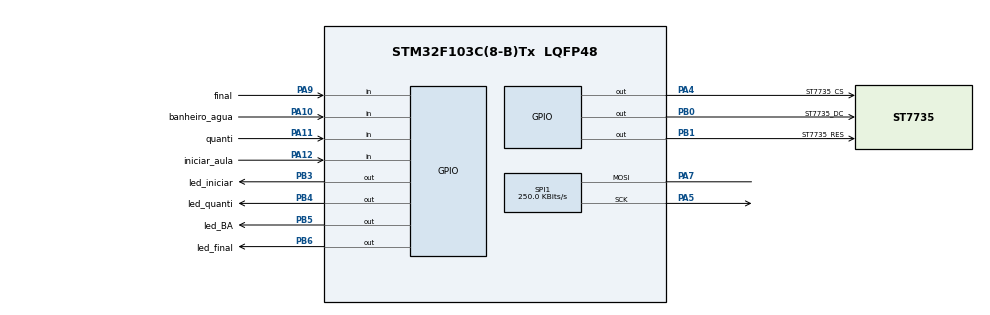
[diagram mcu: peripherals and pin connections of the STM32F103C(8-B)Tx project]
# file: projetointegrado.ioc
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Mcu.Family=STM32F1
Mcu.Name=STM32F103C(8-B)Tx
Mcu.Package=LQFP48
NVIC.PriorityGroup=NVIC_PRIORITYGROUP_4
PA10.GPIO_Label=banheiro_agua
PA10.GPIO_PuPd=GPIO_PULLUP
PA10.Signal=GPIO_Input
PA11.GPIO_Label=quanti
PA11.GPIO_PuPd=GPIO_PULLUP
PA11.Signal=GPIO_Input
PA12.GPIO_Label=iniciar_aula
PA12.GPIO_PuPd=GPIO_PULLUP
PA12.Signal=GPIO_Input
PA13.Mode=Serial_Wire
PA13.Signal=SYS_JTMS-SWDIO
PA14.Mode=Serial_Wire
PA14.Signal=SYS_JTCK-SWCLK
PA4.GPIO_Label=ST7735_CS
PA4.Signal=GPIO_Output
PA5.Mode=Simplex_Bidirectional_Master
PA5.Signal=SPI1_SCK
PA7.Mode=Simplex_Bidirectional_Master
PA7.Signal=SPI1_MOSI
PA9.GPIO_Label=final
PA9.GPIO_PuPd=GPIO_PULLUP
PA9.Signal=GPIO_Input
PB0.GPIO_Label=ST7735_DC
PB0.Signal=GPIO_Output
PB1.GPIO_Label=ST7735_RES
PB1.Signal=GPIO_Output
PB3.GPIO_Label=led_iniciar
PB3.Signal=GPIO_Output
PB4.GPIO_Label=led_quanti
PB4.Signal=GPIO_Output
PB5.GPIO_Label=led_BA
PB5.Signal=GPIO_Output
PB6.GPIO_Label=led_final
PB6.Signal=GPIO_Output
ProjectManager.HeapSize=0x200
ProjectManager.StackSize=0x400
ProjectManager.TargetToolchain=STM32CubeIDE
RCC.APB1Freq_Value=8000000
RCC.APB2Freq_Value=8000000
SPI1.BaudRatePrescaler=SPI_BAUDRATEPRESCALER_32
SPI1.CalculateBaudRate=250.0 KBits/s
SPI1.Direction=SPI_DIRECTION_1LINE
SPI1.Mode=SPI_MODE_MASTER
SPI1.VirtualType=VM_MASTER
board=custom

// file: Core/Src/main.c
/* USER CODE BEGIN Header */
/**
  ******************************************************************************
  * @file           : main.c
  * @brief          : Main program body
  ******************************************************************************
  * @attention
  *
  * <h2><center>&copy; Copyright (c) 2026 STMicroelectronics.
  * All rights reserved.</center></h2>
  *
  * This software component is licensed by ST under BSD 3-Clause license,
  * the "License"; You may not use this file except in compliance with the
  * License. You may obtain a copy of the License at:
  *                        opensource.org/licenses/BSD-3-Clause
  *
  ******************************************************************************
  */
/* USER CODE END Header */
#include "main.h"

/* USER CODE BEGIN Includes */
#include "st7735\st7735.h"
#include <stdio.h>
#include <stdlib.h>
/* USER CODE END Includes */

/* USER CODE BEGIN PD */
#define RED   0xF800
#define GREEN 0x07E0
#define BLUE  0x001F
//definições dos botoes:PA9,PA10,PA11 e PA12
#define iniciaraula HAL_GPIO_ReadPin(iniciar_aula_GPIO_Port, iniciar_aula_Pin)
#define quanti HAL_GPIO_ReadPin(quanti_GPIO_Port, quanti_Pin)
#define BA HAL_GPIO_ReadPin(banheiro_agua_GPIO_Port, banheiro_agua_Pin)
#define final HAL_GPIO_ReadPin(final_GPIO_Port, final_Pin)
//definições dos leds:PB3,PB4,PB5 e PB6
#define lediniciar(state) HAL_GPIO_WritePin(led_iniciar_GPIO_Port, led_iniciar_Pin, state)
#define ledquantid(state) HAL_GPIO_WritePin(led_quanti_GPIO_Port,  led_quanti_Pin,  state)
#define ledBA(state)      HAL_GPIO_WritePin(led_BA_GPIO_Port,      led_BA_Pin,      state)
#define ledfinal(state)   HAL_GPIO_WritePin(led_final_GPIO_Port,   led_final_Pin,   state)
#define maxTentativas 3
#define bloqueabase 5000
#define maxalunos 40
/* USER CODE END PD */

SPI_HandleTypeDef hspi1;

/* USER CODE BEGIN PV */
uint8_t saida_BA = 0;
uint8_t nao_retornarem = 0;
uint32_t tick_inicio = 0;
uint8_t  digito_atual = 0;
uint8_t  senha[4];
uint8_t  indice       = 0;
uint8_t  senha_correta[4];
uint8_t  qtd_alunos1  = 15;
uint8_t  qtd_alunos2  = 20;
uint8_t  qtdmaxalunos  = 40;
char     buffer_tela[20];
uint32_t timeout      = 500;
uint8_t tentativas = 0;
/* USER CODE END PV */

void SystemClock_Config(void);
static void MX_GPIO_Init(void);
static void MX_SPI1_Init(void);
/* USER CODE BEGIN PFP */
void tela_login(void);
void gerar_senha(void);
void atualiza_senha_display(void);
bool verifica_senha(void);
void inserir_digito(uint8_t d);
void turma(void);
void total_alunos(void);
void encerrar_aula(uint8_t alunos_sala, uint8_t alunos_fora, uint8_t total_saidas);
/* USER CODE END PFP */

/* USER CODE BEGIN 0 */
uint32_t last_time = 0;

void tela_login(void)
{
    ST7735_FillScreen(0x0000);
    ST7735_WriteString(10, 20, "Digite a senha:", Font_7x10,  GREEN, 0x0000);
    ST7735_WriteString(20, 50, "_ _ _ _",         Font_11x18, BLUE,  0x0000);
}

void gerar_senha(void)
{

    ST7735_FillScreen(0x0000);
    ST7735_WriteString(10, 10, "Senha Gerada:", Font_7x10, GREEN, 0x0000);

    char temp[2];
    for (int i = 0; i < 4; i++) {
        senha_correta[i] = rand() % 10;
        sprintf(temp, "%d", senha_correta[i]);
        ST7735_WriteString(10 + (i * 15), 30, temp, Font_11x18, WHITE, 0x0000);
    }

    ST7735_WriteString(10, 60, "Decore a senha!", Font_7x10, RED, 0x0000);
    HAL_Delay(3000);
}
void total_alunos(void)
{
    #define maxFora 3

    uint8_t alunos_sala  = 0;
    uint8_t alunos_fora  = 0;
    uint8_t total_saidas = 0;
    char linha1[20], linha2[20];

    tick_inicio = HAL_GetTick();

    ST7735_FillScreen(0x0000);
    ST7735_WriteString(10,  5, "AULA",           Font_7x10, GREEN, 0x0000);
    ST7735_WriteString(10, 20, "Sala:  0",       Font_7x10, WHITE, 0x0000);
    ST7735_WriteString(10, 35, "Fora:  0",       Font_7x10, WHITE, 0x0000);
    ST7735_WriteString(10, 80, "iniciar: +aluno",Font_7x10, BLUE,  0x0000);
    ST7735_WriteString(10, 95, "BA    : sair",   Font_7x10, BLUE,  0x0000);
    ST7735_WriteString(10,110, "final : voltar", Font_7x10, BLUE,  0x0000);
    ST7735_WriteString(10,125, "ini+fin:  fim",  Font_7x10, BLUE,  0x0000);

    while (1)
    {
        /* --- detecção do combo de encerramento --- */
        if (iniciaraula == GPIO_PIN_RESET && final == GPIO_PIN_RESET)
        {
            HAL_Delay(50);
            if (iniciaraula == GPIO_PIN_RESET && final == GPIO_PIN_RESET)
            {
                encerrar_aula(alunos_sala, alunos_fora, total_saidas);
                return;
            }
        }

        /* --- entrada de aluno --- */
        if (iniciaraula == GPIO_PIN_RESET)
        {
            alunos_sala++;
            HAL_Delay(300);
            sprintf(linha1, "Sala: %2d  ", alunos_sala);
            ST7735_WriteString(10, 20, linha1, Font_7x10, WHITE, 0x0000);
        }

        /* --- saída para BA --- */
        if (BA == GPIO_PIN_RESET)
        {
            if (final != GPIO_PIN_RESET)
            {
                if (alunos_fora < maxFora && alunos_sala > 0)
                {
                    alunos_fora++;
                    alunos_sala--;
                    total_saidas++;
                    HAL_Delay(300);
                    sprintf(linha1, "Sala: %2d  ", alunos_sala);
                    sprintf(linha2, "Fora: %2d  ", alunos_fora);
                    ST7735_WriteString(10, 20, linha1, Font_7x10, WHITE, 0x0000);
                    ST7735_WriteString(10, 35, linha2, Font_7x10, BLUE,  0x0000);
                }
                else if (alunos_fora >= maxFora)
                {
                    ST7735_WriteString(10, 55, "Limite atingido!", Font_7x10, RED, 0x0000);
                    HAL_Delay(1500);
                    ST7735_WriteString(10, 55, "                ", Font_7x10, 0x0000, 0x0000);
                }
            }
        }

        /* --- retorno do BA --- */
        if (final == GPIO_PIN_RESET)
        {
            if (iniciaraula != GPIO_PIN_RESET)
            {
                if (alunos_fora > 0)
                {
                    alunos_fora--;
                    alunos_sala++;
                    HAL_Delay(300);
                    sprintf(linha1, "Sala: %2d  ", alunos_sala);
                    sprintf(linha2, "Fora: %2d  ", alunos_fora);
                    ST7735_WriteString(10, 20, linha1, Font_7x10, WHITE, 0x0000);
                    ST7735_WriteString(10, 35, linha2, Font_7x10, BLUE,  0x0000);
                }
            }
        }
    }
}

void atualiza_senha_display(void)
{
    char display[9] = "_ _ _ _";

    for (int i = 0; i < indice; i++) {
        display[i * 2] = '0' + senha[i];
    }

    if (indice < 4) {
        display[indice * 2] = '0' + digito_atual;
    }

    ST7735_WriteString(20, 50, display, Font_11x18, RED, 0x0000);
}

bool verifica_senha(void)
{
    if (indice < 4) return false;

    int ok = 1;
    for (int i = 0; i < 4; i++) {
        if (senha[i] != senha_correta[i]) {
            ok = 0;
            break;
        }
    }

    if (ok) {
        ST7735_FillScreen(GREEN);
        ST7735_WriteString(20, 60, "ACESSO OK", Font_11x18, 0x0000, GREEN);
        HAL_Delay(2000);
        return true;
    } else {
        ST7735_FillScreen(RED);
        ST7735_WriteString(40, 60, "ERRO", Font_11x18, 0x0000, RED);
        HAL_Delay(2000);
        indice       = 0;
        digito_atual = 0;
        tela_login();
        return false;
    }
}

/* USER CODE END 0 */

int main(void)
{

  HAL_Init();
  SystemClock_Config();
  MX_GPIO_Init();
  MX_SPI1_Init();

  /* USER CODE BEGIN 2 */
  ST7735_Init();
  gerar_senha();
  tela_login();

  indice       = 0;
  digito_atual = 0;

  // Loop de login: incrementa com iniciaraula, confirma com quanti
  while (1)
  {
      // Botão INCREMENTAR (iniciaraula) — aumenta o dígito de 0 a 9, depois volta a 0
      if (iniciaraula == GPIO_PIN_RESET)
      {
          digito_atual++;
          if (digito_atual > 9) digito_atual = 0;

          atualiza_senha_display();
          HAL_Delay(300);
      }

      // Botão CONFIRMAR (quanti) — salva o dígito e passa para o próximo
      if (quanti == GPIO_PIN_RESET)
      {
          senha[indice] = digito_atual;
          indice++;
          digito_atual = 0;
          HAL_Delay(300);

          if (indice == 4)
          {
              if (verifica_senha()) {
                  break;
              }
          }
          else
          {
              atualiza_senha_display();
          }
      }
  }

  while(1)
  {
      total_alunos();
  }
  /* USER CODE END 2 */

  /* Infinite loop */
  while (1)
  {
  }

}

void SystemClock_Config(void)
{
  RCC_OscInitTypeDef RCC_OscInitStruct = {0};
  RCC_ClkInitTypeDef RCC_ClkInitStruct = {0};

  RCC_OscInitStruct.OscillatorType      = RCC_OSCILLATORTYPE_HSI;
  RCC_OscInitStruct.HSIState            = RCC_HSI_ON;
  RCC_OscInitStruct.HSICalibrationValue = RCC_HSICALIBRATION_DEFAULT;
  RCC_OscInitStruct.PLL.PLLState        = RCC_PLL_NONE;
  if (HAL_RCC_OscConfig(&RCC_OscInitStruct) != HAL_OK) Error_Handler();

  RCC_ClkInitStruct.ClockType      = RCC_CLOCKTYPE_HCLK|RCC_CLOCKTYPE_SYSCLK
                                   |RCC_CLOCKTYPE_PCLK1|RCC_CLOCKTYPE_PCLK2;
  RCC_ClkInitStruct.SYSCLKSource   = RCC_SYSCLKSOURCE_HSI;
  RCC_ClkInitStruct.AHBCLKDivider  = RCC_SYSCLK_DIV1;
  RCC_ClkInitStruct.APB1CLKDivider = RCC_HCLK_DIV1;
  RCC_ClkInitStruct.APB2CLKDivider = RCC_HCLK_DIV1;
  if (HAL_RCC_ClockConfig(&RCC_ClkInitStruct, FLASH_LATENCY_0) != HAL_OK) Error_Handler();
}

static void MX_SPI1_Init(void)
{
  hspi1.Instance               = SPI1;
  hspi1.Init.Mode              = SPI_MODE_MASTER;
  hspi1.Init.Direction         = SPI_DIRECTION_1LINE;
  hspi1.Init.DataSize          = SPI_DATASIZE_8BIT;
  hspi1.Init.CLKPolarity       = SPI_POLARITY_LOW;
  hspi1.Init.CLKPhase          = SPI_PHASE_1EDGE;
  hspi1.Init.NSS               = SPI_NSS_SOFT;
  hspi1.Init.BaudRatePrescaler = SPI_BAUDRATEPRESCALER_32;
  hspi1.Init.FirstBit          = SPI_FIRSTBIT_MSB;
  hspi1.Init.TIMode            = SPI_TIMODE_DISABLE;
  hspi1.Init.CRCCalculation    = SPI_CRCCALCULATION_DISABLE;
  hspi1.Init.CRCPolynomial     = 10;
  if (HAL_SPI_Init(&hspi1) != HAL_OK) Error_Handler();
}

static void MX_GPIO_Init(void)
{
  GPIO_InitTypeDef GPIO_InitStruct = {0};

  __HAL_RCC_GPIOA_CLK_ENABLE();
  __HAL_RCC_GPIOB_CLK_ENABLE();

  HAL_GPIO_WritePin(ST7735_CS_GPIO_Port, ST7735_CS_Pin, GPIO_PIN_RESET);
  HAL_GPIO_WritePin(GPIOB, ST7735_DC_Pin|ST7735_RES_Pin|led_iniciar_Pin|led_quanti_Pin
                          |led_BA_Pin|led_final_Pin, GPIO_PIN_RESET);

  GPIO_InitStruct.Pin   = ST7735_CS_Pin;
  GPIO_InitStruct.Mode  = GPIO_MODE_OUTPUT_PP;
  GPIO_InitStruct.Pull  = GPIO_NOPULL;
  GPIO_InitStruct.Speed = GPIO_SPEED_FREQ_LOW;
  HAL_GPIO_Init(ST7735_CS_GPIO_Port, &GPIO_InitStruct);

  GPIO_InitStruct.Pin   = ST7735_DC_Pin|ST7735_RES_Pin|led_iniciar_Pin|led_quanti_Pin
                         |led_BA_Pin|led_final_Pin;
  GPIO_InitStruct.Mode  = GPIO_MODE_OUTPUT_PP;
  GPIO_InitStruct.Pull  = GPIO_NOPULL;
  GPIO_InitStruct.Speed = GPIO_SPEED_FREQ_LOW;
  HAL_GPIO_Init(GPIOB, &GPIO_InitStruct);

  // Botões com PULLUP — lê GPIO_PIN_RESET quando pressionado
  GPIO_InitStruct.Pin  = final_Pin|banheiro_agua_Pin|quanti_Pin|iniciar_aula_Pin;
  GPIO_InitStruct.Mode = GPIO_MODE_INPUT;
  GPIO_InitStruct.Pull = GPIO_PULLUP;
  HAL_GPIO_Init(GPIOA, &GPIO_InitStruct);
}

/* USER CODE BEGIN 4 */
void encerrar_aula(uint8_t alunos_sala, uint8_t alunos_fora, uint8_t total_saidas)
{
    char linha[24];

    ST7735_FillScreen(0x0000);
    ST7735_WriteString(10,  5, " RELATORIO ", Font_7x10, GREEN,  0x0000);

    sprintf(linha, "Presentes: %2d",  alunos_sala);
    ST7735_WriteString(10, 25, linha, Font_7x10, WHITE, 0x0000);

    sprintf(linha, "Saidas BA: %2d",  total_saidas);
    ST7735_WriteString(10, 40, linha, Font_7x10, WHITE, 0x0000);

    sprintf(linha, "Fora agora:%2d",  alunos_fora);
    ST7735_WriteString(10, 55, linha, Font_7x10, alunos_fora > 0 ? RED : WHITE, 0x0000);

    uint32_t duracao_s = (HAL_GetTick() - tick_inicio) / 1000;
    sprintf(linha, "Duracao:%3lu min", duracao_s / 60);
    ST7735_WriteString(10, 70, linha, Font_7x10, BLUE,  0x0000);

    ST7735_WriteString(10, 100, "Aula encerrada.", Font_7x10, GREEN, 0x0000);

    // Trava aqui — relatório permanece até reset
    while (1) { HAL_Delay(1000); }
}

void inserir_digito(uint8_t d)
{
    if (indice < 4) {
        senha[indice] = d;
        indice++;
        atualiza_senha_display();
    }
}

void turma(void)
{
    uint8_t confirmacao = 0;
    char texto_qtd[40];

    while (confirmacao == 0)
    {
        if (iniciaraula == 0) {
            qtd_alunos1 = 15;
            sprintf(texto_qtd, "qtd: %d", qtd_alunos1);
            ST7735_WriteString(30, 60, texto_qtd, Font_11x18, BLUE, 0x0000);
            HAL_Delay(250);
        } else if (BA == 0) {
            qtd_alunos2 = 20;
            sprintf(texto_qtd, "qtd: %d", qtd_alunos2);
            ST7735_WriteString(30, 60, texto_qtd, Font_11x18, BLUE, 0x0000);
            HAL_Delay(500);
        }

        if (final == 0) {
            confirmacao = 1;
            HAL_Delay(250);
        }
    }

    ST7735_FillScreen(GREEN);
    ST7735_WriteString(20, 60, "Turma OK!", Font_11x18, 0x0000, GREEN);
    HAL_Delay(1000);
}
/* USER CODE END 4 */

void Error_Handler(void)
{
  __disable_irq();
  while (1) {}
}

/************************ (C) COPYRIGHT STMicroelectronics *****END OF FILE****/
